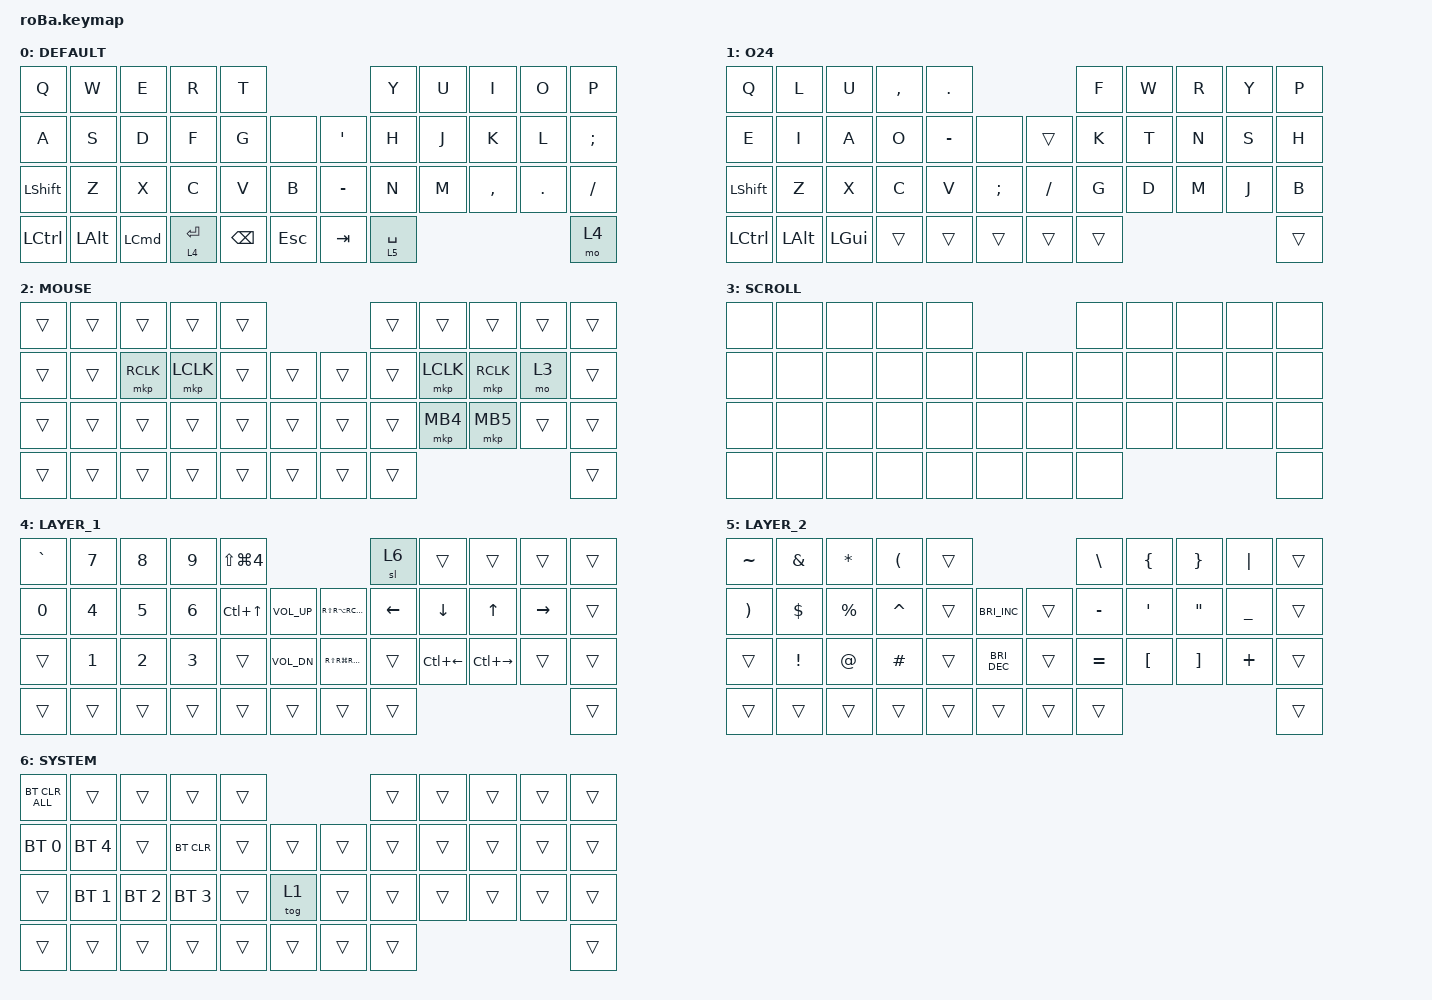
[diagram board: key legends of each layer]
#include <input/processors.dtsi>
#include <behaviors.dtsi>
#include <dt-bindings/zmk/bt.h>
#include <dt-bindings/zmk/keys.h>
#include <dt-bindings/zmk/pointing.h>

&mt {
    flavor = "balanced";
    quick-tap-ms = <200>;
};

&lt { quick-tap-ms = <200>; };

&mkp_input_listener { input-processors = <&zip_temp_layer 2 200>; };

&trackball {
    scroll-layers = <3>;

    // arrows {
    //     layers = <3>;
    //     bindings =
    //         <&kp RIGHT_ARROW>,
    //         <&kp LEFT_ARROW>,
    //         <&kp UP_ARROW>,
    //         <&kp DOWN_ARROW>;
    //     tick = <10>;
    //     wait-ms = <5>;
    //     tap-ms = <5>;
    // };
};

/ {
    combos {
        compatible = "zmk,combos";

        eisu {
            bindings = <&kp LANG2>;
            key-positions = <12 13>;
        };

        kana {
            bindings = <&kp LANG1>;
            key-positions = <18 19>;
        };
    };

    keymap {
        compatible = "zmk,keymap";

        DEFAULT {
            bindings = <
&kp Q           &kp W     &kp E             &kp R        &kp T                                            &kp Y        &kp U  &kp I      &kp O    &kp P
&kp A           &kp S     &kp D             &kp F        &kp G          &none           &kp SINGLE_QUOTE  &kp H        &kp J  &kp K      &kp L    &kp SEMICOLON
&kp LEFT_SHIFT  &kp Z     &kp X             &kp C        &kp V          &kp B           &kp MINUS         &kp N        &kp M  &kp COMMA  &kp DOT  &kp SLASH
&kp LCTRL       &kp LALT  &kp LEFT_COMMAND  &lt 4 ENTER  &kp BACKSPACE  &kp ESCAPE      &kp TAB           &lt 5 SPACE                             &mo 4
            >;
        };

        O24 {
            bindings = <
&kp Q      &kp L     &kp U     &kp COMMA  &kp DOT                             &kp F   &kp W  &kp R  &kp Y  &kp P
&kp E      &kp I     &kp A     &kp O      &kp MINUS  &none         &trans     &kp K   &kp T  &kp N  &kp S  &kp H
&kp LSHFT  &kp Z     &kp X     &kp C      &kp V      &kp SEMI      &kp SLASH  &kp G   &kp D  &kp M  &kp J  &kp B
&kp LCTRL  &kp LALT  &kp LGUI  &trans     &trans     &trans        &trans     &trans                       &trans
            >;
        };

        MOUSE {
            bindings = <
&trans  &trans  &trans     &trans     &trans                      &trans  &trans     &trans     &trans  &trans
&trans  &trans  &mkp RCLK  &mkp LCLK  &trans  &trans      &trans  &trans  &mkp LCLK  &mkp RCLK  &mo 3   &trans
&trans  &trans  &trans     &trans     &trans  &trans      &trans  &trans  &mkp MB4   &mkp MB5   &trans  &trans
&trans  &trans  &trans     &trans     &trans  &trans      &trans  &trans                                &trans
            >;
        };

        SCROLL {
            bindings = <
&none  &none  &none  &none  &none                    &none  &none  &none  &none  &none
&none  &none  &none  &none  &none  &none      &none  &none  &none  &none  &none  &none
&none  &none  &none  &none  &none  &none      &none  &none  &none  &none  &none  &none
&none  &none  &none  &none  &none  &none      &none  &none                       &none
            >;
        };

        LAYER_1 {
            bindings = <
&kp GRAVE  &kp N7  &kp N8  &kp N9  &kp LS(LG(NUMBER_4))                                                  &sl 6           &trans              &trans               &trans           &trans
&kp N0     &kp N4  &kp N5  &kp N6  &kp LC(UP_ARROW)      &kp C_VOL_UP      &kp RS(RA(RC(RG(KP_PLUS))))   &kp LEFT_ARROW  &kp DOWN_ARROW      &kp UP_ARROW         &kp RIGHT_ARROW  &trans
&trans     &kp N1  &kp N2  &kp N3  &trans                &kp C_VOL_DN      &kp RS(RG(RA(RC(KP_MINUS))))  &trans          &kp LC(LEFT_ARROW)  &kp LC(RIGHT_ARROW)  &trans           &trans
&trans     &trans  &trans  &trans  &trans                &trans            &trans                        &trans                                                                    &trans
            >;
        };

        LAYER_2 {
            bindings = <
&kp TILDE  &kp AMPS  &kp STAR   &kp LPAR   &trans                                    &kp BACKSLASH  &kp LEFT_BRACE    &kp RIGHT_BRACE    &kp PIPE        &trans
&kp RPAR   &kp DLLR  &kp PRCNT  &kp CARET  &trans  &kp C_BRIGHTNESS_INC      &trans  &kp MINUS      &kp SINGLE_QUOTE  &kp DOUBLE_QUOTES  &kp UNDERSCORE  &trans
&trans     &kp EXCL  &kp AT     &kp HASH   &trans  &kp C_BRIGHTNESS_DEC      &trans  &kp EQUAL      &kp LEFT_BRACKET  &kp RIGHT_BRACKET  &kp PLUS        &trans
&trans     &trans    &trans     &trans     &trans  &trans                    &trans  &trans                                                              &trans
            >;
        };

        SYSTEM {
            bindings = <
&bt BT_CLR_ALL  &trans        &trans        &trans        &trans                      &trans  &trans  &trans  &trans  &trans
&bt BT_SEL 0    &bt BT_SEL 4  &trans        &bt BT_CLR    &trans  &trans      &trans  &trans  &trans  &trans  &trans  &trans
&trans          &bt BT_SEL 1  &bt BT_SEL 2  &bt BT_SEL 3  &trans  &tog 1      &trans  &trans  &trans  &trans  &trans  &trans
&trans          &trans        &trans        &trans        &trans  &trans      &trans  &trans                          &trans
            >;
        };
    };
};
